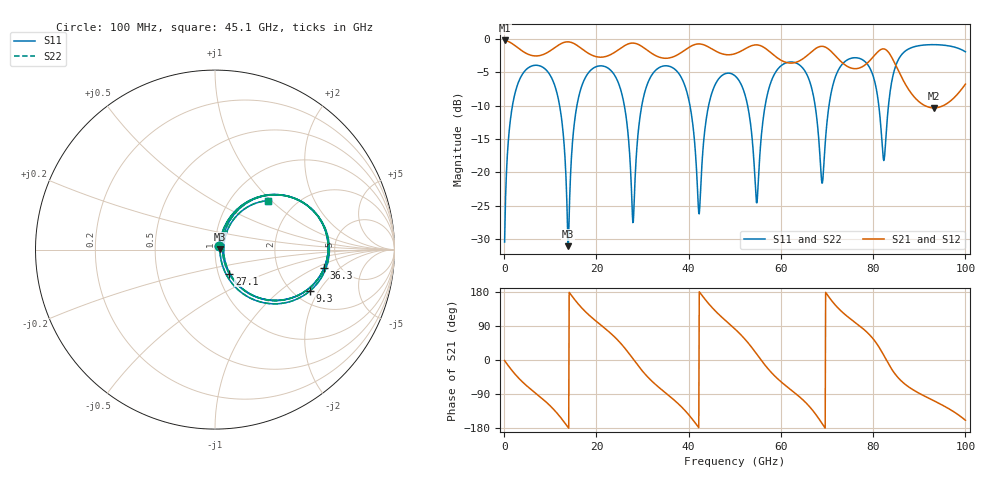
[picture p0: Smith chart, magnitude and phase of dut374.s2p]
! Touchstone file exported from HFSS 2026.1.0
!  File:  C:/ffzhzh/LocalFiles/Ansys_Project_Files/temp_train_TSV_RDL_374_1783713958_44652.aedt
!  Generated:  04:28:18 AM Jul 11, 2026
!  Design:  TSV_RDL
!  Project:  temp_train_TSV_RDL_374_1783713958_44652
! Variables:
!  h_bsmrdl = 3.39um
!  h_ox = 20um
!  h_rdl = 5um
!  h_sub = 75.73um
!  h_tmrdl = 3.63um
!  h_tsv = 75.73um
!  h_via = 3um
!  l_bsmrdl = 512.68um
!  l_sub = 4381.33um
!  l_tmrdl = 583.41um
!  m_sub = 200um
!  pitch = 57.93um
!  r_tsv = 7.55um
!  s_tmrdl = 10um
!  w_bsmrdl = 16.95um
!  w_sub = 500um
!  w_tmrdl = 19.6um
!  x_tsv_center1 = 593.21um
!  x_tsv_center2 = 1122.84um
!  x_tsv_center3 = 1725.85um
!  x_tsv_center4 = 2255.48um
!  x_tsv_center5 = 2858.49um
!  x_tsv_center6 = 3388.12um
# GHz S MA R 50.000000
! Terminal data exported
! Port[1] = TM_RDL1_1_T1
! Port[2] = TM_RDL5_1_T1
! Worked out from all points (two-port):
!   1000 points, 100 MHz to 100 GHz, reference 50 ohm
!   highest |S21| = -0.20 dB at 100 MHz (marker M1); lowest = -10.3 dB at 93.2 GHz (marker M2)
!   |S21| within 3 dB of the highest: start of sweep to 60.11 GHz; 64.19 GHz to 72.78 GHz (8.585 GHz wide, 12.5 % of centre) (the widest 2 of 3)
!   lowest |S11| = -31.1 dB at 13.9 GHz (marker M3), VSWR 1.06, Z = 52.9 + j0.261 ohm
!   |S11| at or under -10 dB: 26.07 GHz to 29.83 GHz (3.766 GHz wide, 13.5 % of centre); 40.3 GHz to 44.32 GHz (4.021 GHz wide, 9.51 % of centre); 52.79 GHz to 56.58 GHz (3.783 GHz wide, 6.92 % of centre) (the widest 3 of 7)
!   |S22| runs from -31.0 to -0.8 dB; largest |S21 - S12| = 2.5e-13
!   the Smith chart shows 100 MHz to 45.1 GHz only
!   S11 on the Smith chart (normalised r, x): 100 MHz: 1.05, +0.04; 9.3 GHz: 2.44, -1.68; 27.1 GHz: 1.13, -0.31; 36.3 GHz: 3.78, -1.25; 45.1 GHz: 1.47, +0.95
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0.1  0.03008 40.3  0.9775 -1.7  0.9775 -1.7  0.03008 40.3
! Gamma 0 0 0 0
! Port Impedance 50 0 50 0
2.6  0.4221 45.9  0.8808 -40.6  0.8808 -40.6  0.4221 45.9
9.3  0.5777 -23.4  0.7908 -113.1  0.7908 -113.1  0.5777 -23.4
13.9  0.02799 5.1  0.9545 -178.3  0.9545 -178.3  0.02806 5.0
16.8  0.4423 43.9  0.8485 137.8  0.8485 137.8  0.4422 43.9
27.1  0.1556 -59.4  0.9258 16.6  0.9258 16.6  0.1556 -59.3
28  0.04253 14.8  0.9341 1.9  0.9341 1.9  0.04302 14.8
33.4  0.6055 17.4  0.7373 -70.8  0.7373 -70.8  0.6056 17.3
36.3  0.6166 -9.6  0.7294 -99.9  0.7294 -99.9  0.6166 -9.6
42.2  0.04926 -9.8  0.9209 -178.4  0.9209 -178.4  0.04885 -9.9
45.1  0.401 42.8  0.8419 138.2  0.8419 138.2  0.401 42.9
50.1  0.5287 -7.7  0.7784 81.1  0.7784 81.1  0.5287 -7.6
54.7  0.05945 5.5  0.9059 16.6  0.9059 16.6  0.06066 5.7
55.8  0.1944 70.4  0.887 -1.5  0.887 -1.5  0.1947 70.0
61.9  0.6733 13.3  0.6616 -76.1  0.6616 -76.1  0.6733 13.2
66.7  0.4254 -32.2  0.8075 -130.0  0.8075 -130.0  0.4252 -32.4
69  0.08339 18.3  0.8835 -168.9  0.8835 -168.9  0.08206 18.4
73.9  0.6798 27.0  0.6409 120.1  0.6409 120.1  0.6797 27.0
80.2  0.5015 -28.5  0.7488 52.8  0.7488 52.8  0.5015 -28.6
83.4  0.3362 56.1  0.7912 -11.8  0.7912 -11.8  0.3359 56.2
93.2  0.9093 -18.0  0.3051 -107.8  0.3051 -107.8  0.9093 -18.0
100  0.8044 -64.8  0.4596 -159.0  0.4596 -159.0  0.8045 -64.7
